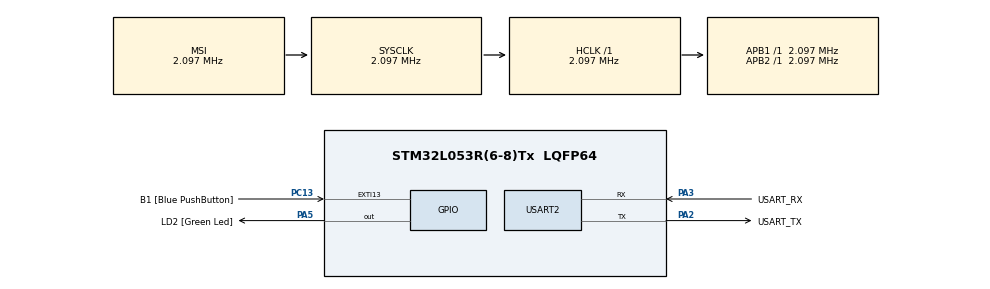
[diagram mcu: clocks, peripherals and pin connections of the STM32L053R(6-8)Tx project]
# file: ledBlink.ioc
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Mcu.Family=STM32L0
RCC.MSI_VALUE=2097000
PC15-OSC32_OUT.Mode=LSE-External-Oscillator
PH0-OSC_IN.Signal=RCC_OSC_IN
PC13.Signal=GPXTI13
PA14.GPIO_Label=TCK
PC13.GPIO_Label=B1 [Blue PushButton]
PC14-OSC32_IN.Signal=RCC_OSC32_IN
ProjectManager.StackSize=0x400
PA3.Mode=Asynchronous
PA13.Signal=SYS_SWDIO
RCC.HSI16_VALUE=16000000
ProjectManager.TargetToolchain=STM32CubeIDE
RCC.APB2TimFreq_Value=2097000
PC15-OSC32_OUT.Signal=RCC_OSC32_OUT
RCC.AHBFreq_Value=2097000
PH0-OSC_IN.Mode=HSE-External-Clock-Source
PA5.Signal=GPIO_Output
RCC.HSE_VALUE=8000000
board=NUCLEO-L053R8
USART2.VirtualMode-Asynchronous=VM_ASYNC
RCC.VCOOutputFreq_Value=48000000
RCC.APB2Freq_Value=2097000
PC14-OSC32_IN.Mode=LSE-External-Oscillator
PA14.Mode=Serial_Wire
PH1-OSC_OUT.Signal=RCC_OSC_OUT
PA13.Mode=Serial_Wire
Mcu.Name=STM32L053R(6-8)Tx
PA2.Signal=USART2_TX
PA13.GPIO_Label=TMS
RCC.SYSCLKFreq_VALUE=2097000
Mcu.Package=LQFP64
PA5.GPIO_Label=LD2 [Green Led]
PC13.GPIO_ModeDefaultEXTI=GPIO_MODE_IT_FALLING
PA2.GPIO_Label=USART_TX
PA14.Signal=SYS_SWCLK
ProjectManager.HeapSize=0x200
RCC.HSI_VALUE=16000000
PA5.GPIO_Speed=GPIO_SPEED_FREQ_VERY_HIGH
RCC.APB1TimFreq_Value=2097000
PA2.Mode=Asynchronous
RCC.APB1Freq_Value=2097000
RCC.HSI48_VALUE=48000000
PA3.GPIO_Label=USART_RX
PA3.Signal=USART2_RX

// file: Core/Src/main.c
/* USER CODE BEGIN Header */
/**
 ******************************************************************************
 * @file           : main.c
 * @brief          : Main program body
 ******************************************************************************
 * @attention
 *
 * <h2><center>&copy; Copyright (c) 2021 STMicroelectronics.
 * All rights reserved.</center></h2>
 *
 * This software component is licensed by ST under BSD 3-Clause license,
 * the "License"; You may not use this file except in compliance with the
 * License. You may obtain a copy of the License at:
 *                        opensource.org/licenses/BSD-3-Clause
 *
 ******************************************************************************
 */
/* USER CODE END Header */
#include "main.h"

/* USER CODE BEGIN Includes */
//#if UNITY_TEST == 1
#include "../../unity/unity.h"

#include "../../fib/test_fib.h"
#include "../../buffer/test_buffer.h"
#include "../../filter/test_filter.h"
//#endif
/* USER CODE END Includes */

UART_HandleTypeDef huart2;

void SystemClock_Config(void);
static void MX_GPIO_Init(void);
static void MX_USART2_UART_Init(void);

/* USER CODE BEGIN 0 */
void setUp(void)
{
}

void tearDown(void)
{
}
/* USER CODE END 0 */

int main(void)
{

  /* MCU Configuration--------------------------------------------------------*/

  /* Reset of all peripherals, Initializes the Flash interface and the Systick. */
  HAL_Init();

  /* Configure the system clock */
  SystemClock_Config();

  /* Initialize all configured peripherals */
  MX_GPIO_Init();
  MX_USART2_UART_Init();
  /* USER CODE BEGIN 2 */

	HAL_GPIO_TogglePin(LD2_GPIO_Port, LD2_Pin);
// #if UNITY_TEST == 1
  UNITY_BEGIN();

  test_fib_main();

  test_filter_main();

  //test_buffer_main();

  UNITY_END();
// #endif
  HAL_GPIO_TogglePin(LD2_GPIO_Port, LD2_Pin);
  /* USER CODE END 2 */

  /* Infinite loop */
  /* USER CODE BEGIN WHILE */
	while (1)
	{
		HAL_GPIO_TogglePin(LD2_GPIO_Port, LD2_Pin);
		HAL_Delay(1000);
    /* USER CODE END WHILE */

	}
}

void SystemClock_Config(void)
{
  RCC_OscInitTypeDef RCC_OscInitStruct = {0};
  RCC_ClkInitTypeDef RCC_ClkInitStruct = {0};
  RCC_PeriphCLKInitTypeDef PeriphClkInit = {0};

  /** Configure the main internal regulator output voltage
  */
  __HAL_PWR_VOLTAGESCALING_CONFIG(PWR_REGULATOR_VOLTAGE_SCALE1);
  /** Initializes the RCC Oscillators according to the specified parameters
  * in the RCC_OscInitTypeDef structure.
  */
  RCC_OscInitStruct.OscillatorType = RCC_OSCILLATORTYPE_MSI;
  RCC_OscInitStruct.MSIState = RCC_MSI_ON;
  RCC_OscInitStruct.MSICalibrationValue = 0;
  RCC_OscInitStruct.MSIClockRange = RCC_MSIRANGE_5;
  RCC_OscInitStruct.PLL.PLLState = RCC_PLL_NONE;
  if (HAL_RCC_OscConfig(&RCC_OscInitStruct) != HAL_OK)
  {
    Error_Handler();
  }
  /** Initializes the CPU, AHB and APB buses clocks
  */
  RCC_ClkInitStruct.ClockType = RCC_CLOCKTYPE_HCLK|RCC_CLOCKTYPE_SYSCLK
                              |RCC_CLOCKTYPE_PCLK1|RCC_CLOCKTYPE_PCLK2;
  RCC_ClkInitStruct.SYSCLKSource = RCC_SYSCLKSOURCE_MSI;
  RCC_ClkInitStruct.AHBCLKDivider = RCC_SYSCLK_DIV1;
  RCC_ClkInitStruct.APB1CLKDivider = RCC_HCLK_DIV1;
  RCC_ClkInitStruct.APB2CLKDivider = RCC_HCLK_DIV1;

  if (HAL_RCC_ClockConfig(&RCC_ClkInitStruct, FLASH_LATENCY_0) != HAL_OK)
  {
    Error_Handler();
  }
  PeriphClkInit.PeriphClockSelection = RCC_PERIPHCLK_USART2;
  PeriphClkInit.Usart2ClockSelection = RCC_USART2CLKSOURCE_PCLK1;
  if (HAL_RCCEx_PeriphCLKConfig(&PeriphClkInit) != HAL_OK)
  {
    Error_Handler();
  }
}

static void MX_USART2_UART_Init(void)
{

  huart2.Instance = USART2;
  huart2.Init.BaudRate = 115200;
  huart2.Init.WordLength = UART_WORDLENGTH_8B;
  huart2.Init.StopBits = UART_STOPBITS_1;
  huart2.Init.Parity = UART_PARITY_NONE;
  huart2.Init.Mode = UART_MODE_TX_RX;
  huart2.Init.HwFlowCtl = UART_HWCONTROL_NONE;
  huart2.Init.OverSampling = UART_OVERSAMPLING_16;
  huart2.Init.OneBitSampling = UART_ONE_BIT_SAMPLE_DISABLE;
  huart2.AdvancedInit.AdvFeatureInit = UART_ADVFEATURE_NO_INIT;
  if (HAL_UART_Init(&huart2) != HAL_OK)
  {
    Error_Handler();
  }

}

static void MX_GPIO_Init(void)
{
  GPIO_InitTypeDef GPIO_InitStruct = {0};

  /* GPIO Ports Clock Enable */
  __HAL_RCC_GPIOC_CLK_ENABLE();
  __HAL_RCC_GPIOH_CLK_ENABLE();
  __HAL_RCC_GPIOA_CLK_ENABLE();

  /*Configure GPIO pin Output Level */
  HAL_GPIO_WritePin(LD2_GPIO_Port, LD2_Pin, GPIO_PIN_RESET);

  /*Configure GPIO pin : B1_Pin */
  GPIO_InitStruct.Pin = B1_Pin;
  GPIO_InitStruct.Mode = GPIO_MODE_IT_FALLING;
  GPIO_InitStruct.Pull = GPIO_NOPULL;
  HAL_GPIO_Init(B1_GPIO_Port, &GPIO_InitStruct);

  /*Configure GPIO pin : LD2_Pin */
  GPIO_InitStruct.Pin = LD2_Pin;
  GPIO_InitStruct.Mode = GPIO_MODE_OUTPUT_PP;
  GPIO_InitStruct.Pull = GPIO_NOPULL;
  GPIO_InitStruct.Speed = GPIO_SPEED_FREQ_VERY_HIGH;
  HAL_GPIO_Init(LD2_GPIO_Port, &GPIO_InitStruct);

}

/* USER CODE BEGIN 4 */
int __io_putchar(int ch)
{
	uint8_t tmpChar = (uint8_t) ch;

	HAL_UART_Transmit(&huart2, &tmpChar, 1, 1);

	//ITM_SendChar(ch);
	return ch;
}
/* USER CODE END 4 */

void Error_Handler(void)
{
	__disable_irq();
	while (1)
	{
	}
}

/************************ (C) COPYRIGHT STMicroelectronics *****END OF FILE****/
